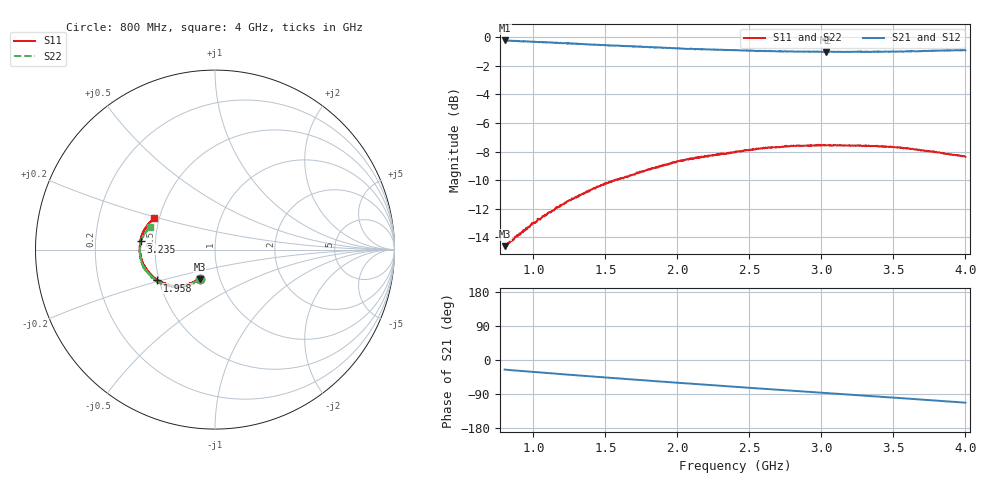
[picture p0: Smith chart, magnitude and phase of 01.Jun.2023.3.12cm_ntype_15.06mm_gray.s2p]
!Keysight Technologies N9950B: A.12.38
!Date: Thursday, 01 June 2023 14:26:25
!Timezone: (UTC-06:00) Central Time (US & Canada)
!Model: N9950B
!Serial: MY61131330
!GPS Latitude:
!GPS Longitude:
!GPS TimeStamp: 0001-01-01 00:00:00Z
!GPS Seconds Since Last Read: 0
!CHECKSUM:0018168209
!Correction: S11(ON U)S21(ON U)S12(ON U)S22(ON U)
!S2P File: Measurements:S11,S21,S12,S22:
# Hz S DB R 50
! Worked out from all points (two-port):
!   1001 points, 800 MHz to 4 GHz, reference 50 ohm
!   highest |S21| = -0.22 dB at 803.2 MHz (marker M1); lowest = -1.0 dB at 3.034 GHz (marker M2)
!   |S21| within 3 dB of the highest: start of sweep to end of sweep
!   lowest |S11| = -14.6 dB at 800 MHz (marker M3), VSWR 1.46, Z = 40 - j13.6 ohm
!   |S11| at or under -10 dB: start of sweep to 1.566 GHz
!   |S22| runs from -14.7 to -7.5 dB; largest |S21 - S12| = 0.005
!   S11 on the Smith chart (normalised r, x): 800 MHz: 0.80, -0.27; 1.958 GHz: 0.49, -0.19; 3.235 GHz: 0.41, +0.05; 4 GHz: 0.47, +0.19
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8e8  -14.63 -117.7  -0.22 -25.3  -0.23 -25.4  -14.74 -117.8
8.032e8  -14.62 -117.6  -0.22 -25.5  -0.22 -25.5  -14.57 -117.9
9.472e8  -13.44 -122.5  -0.30 -29.8  -0.28 -29.9  -13.36 -121.8
1.04e9  -12.74 -125.5  -0.35 -32.6  -0.33 -32.7  -12.72 -124.3
1.168e9  -11.91 -129.4  -0.38 -36.5  -0.39 -36.5  -11.90 -127.2
1.3344e9  -11.00 -133.6  -0.46 -41.3  -0.48 -41.3  -11.02 -133.2
1.4912e9  -10.24 -138.1  -0.54 -45.7  -0.55 -45.9  -10.33 -137.3
1.5744e9  -9.97 -140.5  -0.58 -48.1  -0.58 -48.2  -9.96 -139.6
1.696e9  -9.61 -144.4  -0.63 -51.5  -0.64 -51.7  -9.62 -142.4
1.8688e9  -9.10 -149.2  -0.71 -56.3  -0.72 -56.4  -9.07 -147.3
1.9584e9  -8.79 -151.8  -0.76 -58.9  -0.77 -58.9  -8.84 -149.6
2.24e9  -8.28 -159.1  -0.86 -66.4  -0.86 -66.4  -8.31 -156.8
2.4e9  -8.02 -163.8  -0.90 -70.7  -0.91 -70.7  -8.05 -160.9
2.6272e9  -7.71 -170.1  -0.97 -76.6  -0.97 -76.8  -7.77 -166.4
2.7968e9  -7.61 -174.1  -0.98 -81.0  -1.02 -81.1  -7.65 -170.8
2.9344e9  -7.57 -177.5  -1.01 -84.6  -1.03 -84.6  -7.60 -174.3
3.0336e9  -7.56 179.6  -1.04 -87.2  -1.02 -87.2  -7.56 -176.5
3.2352e9  -7.60 173.8  -1.01 -92.4  -1.02 -92.4  -7.58 179.0
3.4688e9  -7.66 168.0  -1.00 -98.4  -1.02 -98.5  -7.66 172.9
3.5712e9  -7.79 165.0  -1.01 -101.2  -1.00 -101.2  -7.71 170.8
3.792e9  -8.03 158.5  -0.93 -107.1  -0.94 -107.1  -8.01 165.8
4e9  -8.37 152.5  -0.92 -112.6  -0.90 -112.6  -8.30 161.0
